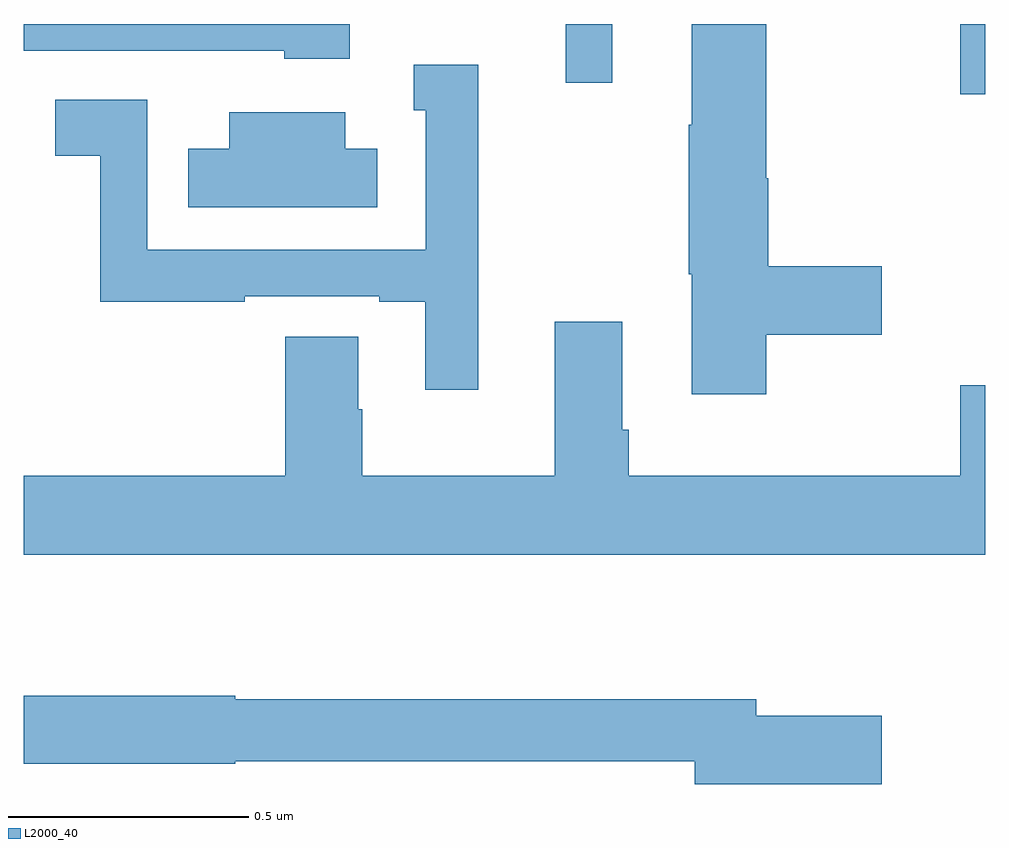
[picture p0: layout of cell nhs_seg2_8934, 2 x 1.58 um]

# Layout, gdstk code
import gdstk
lib = gdstk.Library(unit=1e-6, precision=1e-09)
def R(c, l, rs):  # rectangles x0, y0, x1, y1
    for r in rs: c.add(gdstk.rectangle(r[:2], r[2:], *l))
def P(c, l, *ps):  # polygons
    for p in ps: c.add(gdstk.Polygon(p, *l))
L2000_40 = (2000, 40)

nhs_seg2_8934 = lib.new_cell('nhs_seg2_8934')
R(nhs_seg2_8934, L2000_40, [(224.948,588.654,225,588.8), (224.127,588.678,224.224,588.8)])
P(nhs_seg2_8934, L2000_40, [(224.544,588.154),(224.785,588.154),(224.785,588.296),(224.549,588.296),(224.549,588.479),(224.544,588.479),(224.544,588.8),(224.39,588.8),(224.39,588.59),(224.383,588.59),(224.383,588.279),(224.39,588.279),(224.39,588.03),(224.544,588.03)],
  [(223.678,588.8),(223,588.8),(223,588.744),(223.542,588.744),(223.542,588.728),(223.678,588.728)],
  [(223.945,588.715),(223.811,588.715),(223.811,588.621),(223.836,588.621),(223.836,588.33),(223.257,588.33),(223.257,588.642),(223.065,588.642),(223.065,588.526),(223.159,588.526),(223.159,588.222),(223.46,588.222),(223.46,588.234),(223.739,588.234),(223.739,588.222),(223.835,588.222),(223.835,588.039),(223.945,588.039)],
  [(223.735,588.541),(223.669,588.541),(223.669,588.616),(223.427,588.616),(223.427,588.541),(223.342,588.541),(223.342,588.419),(223.735,588.419)],
  [(225,588.049),(224.948,588.049),(224.948,587.86),(224.258,587.86),(224.258,587.956),(224.245,587.956),(224.245,588.181),(224.105,588.181),(224.105,587.86),(223.704,587.86),(223.704,587.999),(223.696,587.999),(223.696,588.149),(223.544,588.149),(223.544,587.86),(223,587.86),(223,587.696),(225,587.696)],
  [(224.785,587.361),(224.524,587.361),(224.524,587.395),(223.44,587.395),(223.44,587.403),(223,587.403),(223,587.261),(223.44,587.261),(223.44,587.266),(224.396,587.266),(224.396,587.219),(224.785,587.219)])

lib.write_gds('nhs_seg2_8934.gds')
